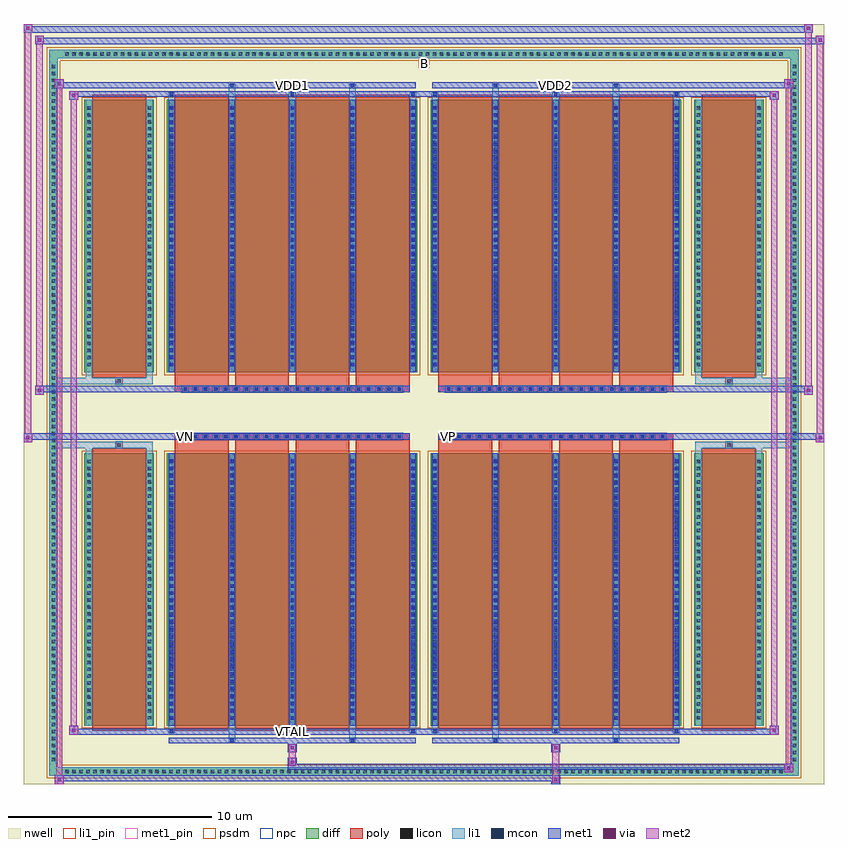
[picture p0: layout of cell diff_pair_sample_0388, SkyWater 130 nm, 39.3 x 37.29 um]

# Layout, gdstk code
import gdstk
lib = gdstk.Library(unit=1e-6, precision=5e-09)
def R(c, l, rs):  # rectangles x0, y0, x1, y1
    for r in rs: c.add(gdstk.rectangle(r[:2], r[2:], *l))
def A(c, l, x, y, w, h, nx, ny, dx, dy):  # array of equal rectangles
    R(c, l, [(x+i*dx, y+j*dy, x+i*dx+w, y+j*dy+h) for i in range(nx) for j in range(ny)])
def P(c, l, *ps):  # polygons
    for p in ps: c.add(gdstk.Polygon(p, *l))
nwell = (64, 20)
diff = (65, 20)
poly = (66, 20)
licon = (66, 44)
li1_pin = (67, 16)
li1 = (67, 20)
mcon = (67, 44)
met1_pin = (68, 16)
met1 = (68, 20)
via = (68, 44)
met2 = (69, 20)
psdm = (94, 20)
npc = (95, 20)

diff_pair_sample_0388 = lib.new_cell('diff_pair_sample_0388')
R(diff_pair_sample_0388, nwell, [(-19.65,-18.21,19.65,19.08), (-16.97,-16.4,-0.01,-0.8), (0.01,-16.4,16.97,-0.8), (-16.97,0.8,-0.01,16.4), (0.01,0.8,16.97,16.4)])
A(diff_pair_sample_0388, diff, -17.715, -17.81, 0.41, 0.41, 104, 2, 0.34, 35.21)
A(diff_pair_sample_0388, diff, -18.38, -17.205, 0.41, 0.41, 1, 101, 0, 0.34)
A(diff_pair_sample_0388, diff, 17.97, -17.205, 0.41, 0.41, 1, 101, 0, 0.34)
R(diff_pair_sample_0388, diff, [(-17.715,-17.81,17.715,-17.4), (-18.38,-17.205,-17.97,17.205), (17.97,-17.205,18.38,17.205), (-16.66,-15.355,-13.25,-1.985), (-12.61,-15.355,-0.32,-1.985), (0.32,-15.355,12.61,-1.985), (13.25,-15.355,16.66,-1.985), (-16.66,1.985,-13.25,15.355), (-12.61,1.985,-0.32,15.355), (0.32,1.985,12.61,15.355), (13.25,1.985,16.66,15.355), (-17.715,17.4,17.715,17.81)])
P(diff_pair_sample_0388, diff, [(18.38,17.81),(-18.38,17.81),(-18.38,-17.4),(-17.97,-17.4),(-17.97,17.4),(17.97,17.4),(17.97,-17.4),(-17.97,-17.4),(-18.38,-17.4),(-18.38,-17.81),(18.38,-17.81)])
A(diff_pair_sample_0388, poly, -12.22, -15.605, 2.63, 13.87, 4, 2, 2.96, 17.34)
A(diff_pair_sample_0388, poly, 0.71, -15.605, 2.63, 13.87, 4, 2, 2.96, 17.34)
A(diff_pair_sample_0388, poly, -12.22, -1.735, 2.63, 0.405, 4, 2, 2.96, 3.065)
A(diff_pair_sample_0388, poly, 0.71, -1.735, 2.63, 0.405, 4, 2, 2.96, 3.065)
A(diff_pair_sample_0388, poly, -11.88, -1.33, 0.33, 0.33, 22, 2, 0.5, 2.33)
A(diff_pair_sample_0388, poly, 1.05, -1.33, 0.33, 0.33, 22, 2, 0.5, 2.33)
R(diff_pair_sample_0388, poly, [(-16.27,-15.605,-13.64,-1.735), (13.64,-15.605,16.27,-1.735), (-15.12,-1.735,-14.79,-1.405), (-15.12,-1.735,-14.79,-1.405), (14.79,-1.735,15.12,-1.405), (14.79,-1.735,15.12,-1.405), (-12.22,-1.33,-0.71,-1), (0.71,-1.33,12.22,-1), (-12.22,1,-0.71,1.33), (0.71,1,12.22,1.33), (-15.12,1.405,-14.79,1.735), (-15.12,1.405,-14.79,1.735), (14.79,1.405,15.12,1.735), (14.79,1.405,15.12,1.735), (-16.27,1.735,-13.64,15.605), (13.64,1.735,16.27,15.605)])
A(diff_pair_sample_0388, licon, -17.595, -17.69, 0.17, 0.17, 104, 2, 0.34, 35.21)
A(diff_pair_sample_0388, licon, -18.26, -17.085, 0.17, 0.17, 1, 101, 0, 0.34)
A(diff_pair_sample_0388, licon, 18.09, -17.085, 0.17, 0.17, 1, 101, 0, 0.34)
A(diff_pair_sample_0388, licon, -16.52, -15.045, 0.17, 0.17, 1, 38, 0, 0.34)
A(diff_pair_sample_0388, licon, -13.56, -15.045, 0.17, 0.17, 1, 38, 0, 0.34)
A(diff_pair_sample_0388, licon, -12.47, -15.045, 0.17, 0.17, 5, 38, 2.96, 0.34)
A(diff_pair_sample_0388, licon, 0.46, -15.045, 0.17, 0.17, 5, 38, 2.96, 0.34)
A(diff_pair_sample_0388, licon, 13.39, -15.045, 0.17, 0.17, 1, 38, 0, 0.34)
A(diff_pair_sample_0388, licon, 16.35, -15.045, 0.17, 0.17, 1, 38, 0, 0.34)
A(diff_pair_sample_0388, licon, -11.8, -1.25, 0.17, 0.17, 22, 2, 0.5, 2.33)
A(diff_pair_sample_0388, licon, 1.13, -1.25, 0.17, 0.17, 22, 2, 0.5, 2.33)
A(diff_pair_sample_0388, licon, -16.52, 2.295, 0.17, 0.17, 1, 38, 0, 0.34)
A(diff_pair_sample_0388, licon, -13.56, 2.295, 0.17, 0.17, 1, 38, 0, 0.34)
A(diff_pair_sample_0388, licon, -12.47, 2.295, 0.17, 0.17, 5, 38, 2.96, 0.34)
A(diff_pair_sample_0388, licon, 0.46, 2.295, 0.17, 0.17, 5, 38, 2.96, 0.34)
A(diff_pair_sample_0388, licon, 13.39, 2.295, 0.17, 0.17, 1, 38, 0, 0.34)
A(diff_pair_sample_0388, licon, 16.35, 2.295, 0.17, 0.17, 1, 38, 0, 0.34)
R(diff_pair_sample_0388, licon, [(-15.04,-1.655,-14.87,-1.485), (14.87,-1.655,15.04,-1.485), (-15.04,1.485,-14.87,1.655), (14.87,1.485,15.04,1.655)])
R(diff_pair_sample_0388, li1_pin, [(-0.25,16.9,0.25,17.4)])
A(diff_pair_sample_0388, li1, -17.675, -17.77, 0.33, 0.33, 104, 2, 0.34, 35.21)
A(diff_pair_sample_0388, li1, -18.34, -17.165, 0.33, 0.33, 1, 101, 0, 0.34)
A(diff_pair_sample_0388, li1, 18.01, -17.165, 0.33, 0.33, 1, 101, 0, 0.34)
A(diff_pair_sample_0388, li1, -12.55, -15.73, 0.33, 0.375, 3, 2, 5.92, 31.085)
A(diff_pair_sample_0388, li1, -12.47, -15.73, 0.17, 0.17, 3, 2, 5.92, 31.29)
A(diff_pair_sample_0388, li1, 0.38, -15.73, 0.33, 0.375, 3, 2, 5.92, 31.085)
A(diff_pair_sample_0388, li1, 0.46, -15.73, 0.17, 0.17, 3, 2, 5.92, 31.29)
A(diff_pair_sample_0388, li1, -12.55, -15.355, 0.33, 13.37, 5, 2, 2.96, 17.34)
A(diff_pair_sample_0388, li1, 0.38, -15.355, 0.33, 13.37, 5, 2, 2.96, 17.34)
A(diff_pair_sample_0388, li1, -16.6, -15.125, 0.33, 0.33, 1, 38, 0, 0.34)
A(diff_pair_sample_0388, li1, -13.64, -15.125, 0.33, 0.33, 1, 38, 0, 0.34)
A(diff_pair_sample_0388, li1, -12.55, -15.125, 0.33, 0.33, 5, 38, 2.96, 0.34)
A(diff_pair_sample_0388, li1, 0.38, -15.125, 0.33, 0.33, 5, 38, 2.96, 0.34)
A(diff_pair_sample_0388, li1, 13.31, -15.125, 0.33, 0.33, 1, 38, 0, 0.34)
A(diff_pair_sample_0388, li1, 16.27, -15.125, 0.33, 0.33, 1, 38, 0, 0.34)
A(diff_pair_sample_0388, li1, -12.47, -15.055, 0.17, 0.17, 5, 36, 2.96, 0.36)
A(diff_pair_sample_0388, li1, -12.47, -15.055, 0.17, 12.77, 5, 2, 2.96, 17.34)
A(diff_pair_sample_0388, li1, 0.46, -15.055, 0.17, 0.17, 5, 36, 2.96, 0.36)
A(diff_pair_sample_0388, li1, 0.46, -15.055, 0.17, 12.77, 5, 2, 2.96, 17.34)
A(diff_pair_sample_0388, li1, -11.88, -1.33, 0.33, 0.33, 22, 2, 0.5, 2.33)
A(diff_pair_sample_0388, li1, 1.05, -1.33, 0.33, 0.33, 22, 2, 0.5, 2.33)
A(diff_pair_sample_0388, li1, -16.6, 2.215, 0.33, 0.33, 1, 38, 0, 0.34)
A(diff_pair_sample_0388, li1, -13.64, 2.215, 0.33, 0.33, 1, 38, 0, 0.34)
A(diff_pair_sample_0388, li1, -12.55, 2.215, 0.33, 0.33, 5, 38, 2.96, 0.34)
A(diff_pair_sample_0388, li1, 0.38, 2.215, 0.33, 0.33, 5, 38, 2.96, 0.34)
A(diff_pair_sample_0388, li1, 13.31, 2.215, 0.33, 0.33, 1, 38, 0, 0.34)
A(diff_pair_sample_0388, li1, 16.27, 2.215, 0.33, 0.33, 1, 38, 0, 0.34)
A(diff_pair_sample_0388, li1, -12.47, 2.285, 0.17, 0.17, 5, 36, 2.96, 0.36)
A(diff_pair_sample_0388, li1, 0.46, 2.285, 0.17, 0.17, 5, 36, 2.96, 0.36)
R(diff_pair_sample_0388, li1, [(-18.38,-17.81,-17.97,-17.4), (-18.38,-17.81,-17.97,-17.4), (-17.97,-17.81,17.97,-17.4), (17.97,-17.81,18.38,-17.4), (17.97,-17.81,18.38,-17.4), (-18.38,-17.4,-17.97,17.4), (17.97,-17.4,18.38,17.4), (-9.59,-16.16,-9.26,-15.355), (-9.51,-16.16,-9.34,-15.99), (-3.67,-16.16,-3.34,-15.355), (-3.59,-16.16,-3.42,-15.99), (3.34,-16.16,3.67,-15.355), (3.42,-16.16,3.59,-15.99), (9.26,-16.16,9.59,-15.355), (9.34,-16.16,9.51,-15.99), (-16.6,-15.355,-16.27,-1.985), (-13.64,-15.355,-13.31,-1.985), (13.31,-15.355,13.64,-1.985), (16.27,-15.355,16.6,-1.985), (-16.6,-1.985,-16.27,-1.405), (-13.64,-1.985,-13.31,-1.405), (13.31,-1.985,13.64,-1.405), (16.27,-1.985,16.6,-1.405), (-18.38,-1.735,-15.12,-1.405), (-16.6,-1.735,-15.12,-1.405), (-15.12,-1.735,-14.79,-1.405), (-14.79,-1.735,-13.31,-1.405), (13.31,-1.735,14.79,-1.405), (14.79,-1.735,15.12,-1.405), (14.79,-1.735,18.38,-1.405), (15.12,-1.735,16.6,-1.405), (-18.38,1.405,-15.12,1.735), (-16.6,1.405,-15.12,1.735), (-16.6,1.405,-16.27,1.985), (-15.12,1.405,-14.79,1.735), (-14.79,1.405,-13.31,1.735), (-13.64,1.405,-13.31,1.985), (13.31,1.405,14.79,1.735), (13.31,1.405,13.64,1.985), (14.79,1.405,15.12,1.735), (14.79,1.405,18.38,1.735), (15.12,1.405,16.6,1.735), (16.27,1.405,16.6,1.985), (-16.6,1.985,-16.27,15.355), (-13.64,1.985,-13.31,15.355), (13.31,1.985,13.64,15.355), (16.27,1.985,16.6,15.355), (-9.59,15.355,-9.26,16.16), (-3.67,15.355,-3.34,16.16), (3.34,15.355,3.67,16.16), (9.26,15.355,9.59,16.16), (-9.51,15.99,-9.34,16.16), (-3.59,15.99,-3.42,16.16), (3.42,15.99,3.59,16.16), (9.34,15.99,9.51,16.16), (-18.38,17.4,-17.97,17.81), (-18.38,17.4,-17.97,17.81), (-17.97,17.4,17.97,17.81), (17.97,17.4,18.38,17.81), (17.97,17.4,18.38,17.81)])
A(diff_pair_sample_0388, mcon, -12.47, -15.73, 0.17, 0.17, 3, 2, 5.92, 31.29)
A(diff_pair_sample_0388, mcon, 0.46, -15.73, 0.17, 0.17, 3, 2, 5.92, 31.29)
A(diff_pair_sample_0388, mcon, -12.47, -15.055, 0.17, 0.17, 5, 36, 2.96, 0.36)
A(diff_pair_sample_0388, mcon, 0.46, -15.055, 0.17, 0.17, 5, 36, 2.96, 0.36)
A(diff_pair_sample_0388, mcon, -11.8, -1.25, 0.17, 0.17, 22, 2, 0.5, 2.33)
A(diff_pair_sample_0388, mcon, 1.13, -1.25, 0.17, 0.17, 22, 2, 0.5, 2.33)
A(diff_pair_sample_0388, mcon, -12.47, 2.285, 0.17, 0.17, 5, 36, 2.96, 0.36)
A(diff_pair_sample_0388, mcon, 0.46, 2.285, 0.17, 0.17, 5, 36, 2.96, 0.36)
R(diff_pair_sample_0388, mcon, [(-9.51,-16.16,-9.34,-15.99), (-3.59,-16.16,-3.42,-15.99), (3.42,-16.16,3.59,-15.99), (9.34,-16.16,9.51,-15.99), (-9.51,15.99,-9.34,16.16), (-3.59,15.99,-3.42,16.16), (3.42,15.99,3.59,16.16), (9.34,15.99,9.51,16.16)])
R(diff_pair_sample_0388, met1_pin, [(-6.6,-15.77,-6.33,-15.5), (-11.85,-1.29,-11.58,-1.02), (1.08,-1.29,1.35,-1.02), (-6.6,15.95,-6.33,16.22), (6.33,15.95,6.6,16.22)])
A(diff_pair_sample_0388, met1, -12.53, -15.79, 0.29, 0.29, 3, 2, 5.92, 31.29)
A(diff_pair_sample_0388, met1, 0.4, -15.79, 0.29, 0.29, 3, 2, 5.92, 31.29)
A(diff_pair_sample_0388, met1, -12.53, -15.355, 0.29, 13.37, 5, 2, 2.96, 17.34)
A(diff_pair_sample_0388, met1, 0.4, -15.355, 0.29, 13.37, 5, 2, 2.96, 17.34)
A(diff_pair_sample_0388, met1, -12.53, -15.115, 0.29, 0.29, 5, 36, 2.96, 0.36)
A(diff_pair_sample_0388, met1, 0.4, -15.115, 0.29, 0.29, 5, 36, 2.96, 0.36)
A(diff_pair_sample_0388, met1, -11.86, -1.31, 0.29, 0.29, 22, 2, 0.5, 2.33)
A(diff_pair_sample_0388, met1, 1.07, -1.31, 0.29, 0.29, 22, 2, 0.5, 2.33)
A(diff_pair_sample_0388, met1, -12.53, 2.225, 0.29, 0.29, 5, 36, 2.96, 0.36)
A(diff_pair_sample_0388, met1, 0.4, 2.225, 0.29, 0.29, 5, 36, 2.96, 0.36)
R(diff_pair_sample_0388, met1, [(-18.11,-18.21,-17.68,-17.78), (6.25,-18.21,6.68,-17.78), (-18.11,-18.07,6.68,-17.78), (17.68,-17.64,18.11,-17.21), (-6.68,-17.5,18.11,-17.21), (-6.68,-17.36,-6.25,-16.93), (-6.68,-16.65,-6.25,-16.22), (6.25,-16.65,6.68,-16.22), (-12.53,-16.22,-0.4,-15.93), (-9.57,-16.22,-9.28,-15.93), (-3.65,-16.22,-3.36,-15.93), (0.4,-16.22,12.53,-15.93), (3.36,-16.22,3.65,-15.93), (9.28,-16.22,9.57,-15.93), (-17.4,-15.79,-16.97,-15.36), (-17.4,-15.79,-12.53,-15.5), (-12.53,-15.79,-0.4,-15.5), (-0.4,-15.79,0.4,-15.5), (0.4,-15.79,12.53,-15.5), (12.53,-15.79,17.4,-15.5), (16.97,-15.79,17.4,-15.36), (-19.65,-1.43,-19.22,-1), (19.22,-1.43,19.65,-1), (-19.65,-1.33,-0.71,-1), (-12.22,-1.33,-0.71,-1), (0.71,-1.33,12.22,-1), (0.71,-1.33,19.65,-1), (-19.08,0.9,-18.65,1.33), (18.65,0.9,19.08,1.33), (-19.08,1,-12.22,1.33), (-12.22,1,-0.71,1.33), (0.71,1,12.22,1.33), (12.22,1,19.08,1.33), (-17.4,15.36,-16.97,15.79), (16.97,15.36,17.4,15.79), (-17.4,15.5,-12.53,15.79), (-12.53,15.5,-0.4,15.79), (-0.4,15.5,0.4,15.79), (0.4,15.5,12.53,15.79), (12.53,15.5,17.4,15.79), (-18.11,15.93,-17.68,16.36), (-18.11,15.93,-12.53,16.22), (-12.53,15.93,-0.4,16.22), (-9.57,15.93,-9.28,16.22), (-3.65,15.93,-3.36,16.22), (0.4,15.93,12.53,16.22), (3.36,15.93,3.65,16.22), (9.28,15.93,9.57,16.22), (12.53,15.93,18.11,16.22), (17.68,15.93,18.11,16.36), (-19.08,18.08,-18.65,18.51), (-19.08,18.08,-16.97,18.41), (-16.97,18.08,16.97,18.41), (16.97,18.08,19.65,18.41), (19.22,18.08,19.65,18.51), (-19.65,18.65,-19.22,19.08), (-19.65,18.65,-16.97,18.98), (-16.97,18.65,16.97,18.98), (16.97,18.65,19.08,18.98), (18.65,18.65,19.08,19.08)])
R(diff_pair_sample_0388, via, [(-17.97,-18.07,-17.82,-17.92), (6.39,-18.07,6.54,-17.92), (17.82,-17.5,17.97,-17.35), (-6.54,-17.22,-6.39,-17.07), (-6.54,-16.51,-6.39,-16.36), (6.39,-16.51,6.54,-16.36), (-17.26,-15.65,-17.11,-15.5), (17.11,-15.65,17.26,-15.5), (-19.51,-1.29,-19.36,-1.14), (19.36,-1.29,19.51,-1.14), (-18.94,1.04,-18.79,1.19), (18.79,1.04,18.94,1.19), (-17.26,15.5,-17.11,15.65), (17.11,15.5,17.26,15.65), (-17.97,16.07,-17.82,16.22), (17.82,16.07,17.97,16.22), (-18.94,18.22,-18.79,18.37), (19.36,18.22,19.51,18.37), (-19.51,18.79,-19.36,18.94), (18.79,18.79,18.94,18.94)])
R(diff_pair_sample_0388, met2, [(-18.11,-18.21,-17.68,-17.78), (-18.04,-18.21,-17.75,16.36), (-17.75,-18.21,-17.68,-17.78), (-18.06,-18.16,-17.73,-17.83), (6.3,-18.16,6.63,-17.83), (6.3,-17.83,6.63,-16.6), (17.68,-17.64,18.11,-17.21), (17.75,-17.64,18.04,16.36), (18.04,-17.64,18.11,-17.21), (17.73,-17.59,18.06,-17.26), (-6.63,-17.31,-6.3,-16.98), (-6.63,-16.98,-6.3,-16.6), (-6.63,-16.6,-6.3,-16.27), (6.3,-16.6,6.63,-16.27), (-17.4,-15.79,-16.97,-15.36), (-17.33,-15.79,-17.04,15.79), (-17.04,-15.79,-16.97,-15.36), (16.97,-15.79,17.4,-15.36), (17.04,-15.79,17.33,15.79), (17.33,-15.79,17.4,-15.36), (-17.35,-15.74,-17.02,-15.41), (17.02,-15.74,17.35,-15.41), (-19.65,-1.43,-19.22,-1), (-19.6,-1.43,-19.27,19.08), (-19.27,-1.43,-19.22,-1), (19.22,-1.43,19.65,-1), (19.27,-1.43,19.6,18.51), (19.6,-1.43,19.65,-1), (-19.6,-1.38,-19.27,-1.05), (19.27,-1.38,19.6,-1.05), (-19.08,0.9,-18.65,1.33), (-19.03,0.9,-18.7,18.51), (-18.7,0.9,-18.65,1.33), (18.65,0.9,19.08,1.33), (18.7,0.9,19.03,19.08), (19.03,0.9,19.08,1.33), (-19.03,0.95,-18.7,1.28), (18.7,0.95,19.03,1.28), (-17.4,15.36,-16.97,15.79), (-17.04,15.36,-16.97,15.79), (16.97,15.36,17.4,15.79), (17.33,15.36,17.4,15.79), (-17.35,15.41,-17.02,15.74), (17.02,15.41,17.35,15.74), (-18.11,15.93,-17.68,16.36), (-17.75,15.93,-17.68,16.36), (17.68,15.93,18.11,16.36), (18.04,15.93,18.11,16.36), (-18.06,15.98,-17.73,16.31), (17.73,15.98,18.06,16.31), (-19.08,18.08,-18.65,18.51), (-18.7,18.08,-18.65,18.51), (19.22,18.08,19.65,18.51), (19.6,18.08,19.65,18.51), (-19.03,18.13,-18.7,18.46), (19.27,18.13,19.6,18.46), (-19.65,18.65,-19.22,19.08), (-19.27,18.65,-19.22,19.08), (18.65,18.65,19.08,19.08), (19.03,18.65,19.08,19.08), (-19.6,18.7,-19.27,19.03), (18.7,18.7,19.03,19.03)])
R(diff_pair_sample_0388, psdm, [(-16.79,-15.485,-13.12,-1.855), (-12.74,-15.485,-0.19,-1.855), (0.19,-15.485,12.74,-1.855), (13.12,-15.485,16.79,-1.855), (-16.79,1.855,-13.12,15.485), (-12.74,1.855,-0.19,15.485), (0.19,1.855,12.74,15.485), (13.12,1.855,16.79,15.485)])
P(diff_pair_sample_0388, psdm, [(18.51,17.94),(-18.51,17.94),(-18.51,-17.27),(-17.84,-17.27),(-17.84,17.27),(17.84,17.27),(17.84,-17.27),(-17.84,-17.27),(-18.51,-17.27),(-18.51,-17.94),(18.51,-17.94)])
A(diff_pair_sample_0388, npc, -11.9, -1.35, 0.37, 0.37, 22, 2, 0.5, 2.33)
A(diff_pair_sample_0388, npc, 1.03, -1.35, 0.37, 0.37, 22, 2, 0.5, 2.33)
R(diff_pair_sample_0388, npc, [(-15.14,-1.755,-14.77,-1.385), (14.77,-1.755,15.14,-1.385), (-11.9,-1.35,-11.03,-0.98), (-11.9,-1.35,-11.03,-0.98), (-11.4,-1.35,-10.53,-0.98), (-11.4,-1.35,-10.53,-0.98), (-10.9,-1.35,-10.03,-0.98), (-10.9,-1.35,-10.03,-0.98), (-10.4,-1.35,-9.53,-0.98), (-10.4,-1.35,-9.53,-0.98), (-9.9,-1.35,-9.03,-0.98), (-9.9,-1.35,-9.03,-0.98), (-9.4,-1.35,-8.53,-0.98), (-9.4,-1.35,-8.53,-0.98), (-8.9,-1.35,-8.03,-0.98), (-8.9,-1.35,-8.03,-0.98), (-8.4,-1.35,-7.53,-0.98), (-8.4,-1.35,-7.53,-0.98), (-7.9,-1.35,-7.03,-0.98), (-7.9,-1.35,-7.03,-0.98), (-7.4,-1.35,-6.53,-0.98), (-7.4,-1.35,-6.53,-0.98), (-6.9,-1.35,-6.03,-0.98), (-6.9,-1.35,-6.03,-0.98), (-6.4,-1.35,-5.53,-0.98), (-6.4,-1.35,-5.53,-0.98), (-5.9,-1.35,-5.03,-0.98), (-5.9,-1.35,-5.03,-0.98), (-5.4,-1.35,-4.53,-0.98), (-5.4,-1.35,-4.53,-0.98), (-4.9,-1.35,-4.03,-0.98), (-4.9,-1.35,-4.03,-0.98), (-4.4,-1.35,-3.53,-0.98), (-4.4,-1.35,-3.53,-0.98), (-3.9,-1.35,-3.03,-0.98), (-3.9,-1.35,-3.03,-0.98), (-3.4,-1.35,-2.53,-0.98), (-3.4,-1.35,-2.53,-0.98), (-2.9,-1.35,-2.03,-0.98), (-2.9,-1.35,-2.03,-0.98), (-2.4,-1.35,-1.53,-0.98), (-2.4,-1.35,-1.53,-0.98), (-1.9,-1.35,-1.03,-0.98), (-1.9,-1.35,-1.03,-0.98), (1.03,-1.35,1.9,-0.98), (1.03,-1.35,1.9,-0.98), (1.53,-1.35,2.4,-0.98), (1.53,-1.35,2.4,-0.98), (2.03,-1.35,2.9,-0.98), (2.03,-1.35,2.9,-0.98), (2.53,-1.35,3.4,-0.98), (2.53,-1.35,3.4,-0.98), (3.03,-1.35,3.9,-0.98), (3.03,-1.35,3.9,-0.98), (3.53,-1.35,4.4,-0.98), (3.53,-1.35,4.4,-0.98), (4.03,-1.35,4.9,-0.98), (4.03,-1.35,4.9,-0.98), (4.53,-1.35,5.4,-0.98), (4.53,-1.35,5.4,-0.98), (5.03,-1.35,5.9,-0.98), (5.03,-1.35,5.9,-0.98), (5.53,-1.35,6.4,-0.98), (5.53,-1.35,6.4,-0.98), (6.03,-1.35,6.9,-0.98), (6.03,-1.35,6.9,-0.98), (6.53,-1.35,7.4,-0.98), (6.53,-1.35,7.4,-0.98), (7.03,-1.35,7.9,-0.98), (7.03,-1.35,7.9,-0.98), (7.53,-1.35,8.4,-0.98), (7.53,-1.35,8.4,-0.98), (8.03,-1.35,8.9,-0.98), (8.03,-1.35,8.9,-0.98), (8.53,-1.35,9.4,-0.98), (8.53,-1.35,9.4,-0.98), (9.03,-1.35,9.9,-0.98), (9.03,-1.35,9.9,-0.98), (9.53,-1.35,10.4,-0.98), (9.53,-1.35,10.4,-0.98), (10.03,-1.35,10.9,-0.98), (10.03,-1.35,10.9,-0.98), (10.53,-1.35,11.4,-0.98), (10.53,-1.35,11.4,-0.98), (11.03,-1.35,11.9,-0.98), (11.03,-1.35,11.9,-0.98), (-11.9,0.98,-11.03,1.35), (-11.9,0.98,-11.03,1.35), (-11.4,0.98,-10.53,1.35), (-11.4,0.98,-10.53,1.35), (-10.9,0.98,-10.03,1.35), (-10.9,0.98,-10.03,1.35), (-10.4,0.98,-9.53,1.35), (-10.4,0.98,-9.53,1.35), (-9.9,0.98,-9.03,1.35), (-9.9,0.98,-9.03,1.35), (-9.4,0.98,-8.53,1.35), (-9.4,0.98,-8.53,1.35), (-8.9,0.98,-8.03,1.35), (-8.9,0.98,-8.03,1.35), (-8.4,0.98,-7.53,1.35), (-8.4,0.98,-7.53,1.35), (-7.9,0.98,-7.03,1.35), (-7.9,0.98,-7.03,1.35), (-7.4,0.98,-6.53,1.35), (-7.4,0.98,-6.53,1.35), (-6.9,0.98,-6.03,1.35), (-6.9,0.98,-6.03,1.35), (-6.4,0.98,-5.53,1.35), (-6.4,0.98,-5.53,1.35), (-5.9,0.98,-5.03,1.35), (-5.9,0.98,-5.03,1.35), (-5.4,0.98,-4.53,1.35), (-5.4,0.98,-4.53,1.35), (-4.9,0.98,-4.03,1.35), (-4.9,0.98,-4.03,1.35), (-4.4,0.98,-3.53,1.35), (-4.4,0.98,-3.53,1.35), (-3.9,0.98,-3.03,1.35), (-3.9,0.98,-3.03,1.35), (-3.4,0.98,-2.53,1.35), (-3.4,0.98,-2.53,1.35), (-2.9,0.98,-2.03,1.35), (-2.9,0.98,-2.03,1.35), (-2.4,0.98,-1.53,1.35), (-2.4,0.98,-1.53,1.35), (-1.9,0.98,-1.03,1.35), (-1.9,0.98,-1.03,1.35), (1.03,0.98,1.9,1.35), (1.03,0.98,1.9,1.35), (1.53,0.98,2.4,1.35), (1.53,0.98,2.4,1.35), (2.03,0.98,2.9,1.35), (2.03,0.98,2.9,1.35), (2.53,0.98,3.4,1.35), (2.53,0.98,3.4,1.35), (3.03,0.98,3.9,1.35), (3.03,0.98,3.9,1.35), (3.53,0.98,4.4,1.35), (3.53,0.98,4.4,1.35), (4.03,0.98,4.9,1.35), (4.03,0.98,4.9,1.35), (4.53,0.98,5.4,1.35), (4.53,0.98,5.4,1.35), (5.03,0.98,5.9,1.35), (5.03,0.98,5.9,1.35), (5.53,0.98,6.4,1.35), (5.53,0.98,6.4,1.35), (6.03,0.98,6.9,1.35), (6.03,0.98,6.9,1.35), (6.53,0.98,7.4,1.35), (6.53,0.98,7.4,1.35), (7.03,0.98,7.9,1.35), (7.03,0.98,7.9,1.35), (7.53,0.98,8.4,1.35), (7.53,0.98,8.4,1.35), (8.03,0.98,8.9,1.35), (8.03,0.98,8.9,1.35), (8.53,0.98,9.4,1.35), (8.53,0.98,9.4,1.35), (9.03,0.98,9.9,1.35), (9.03,0.98,9.9,1.35), (9.53,0.98,10.4,1.35), (9.53,0.98,10.4,1.35), (10.03,0.98,10.9,1.35), (10.03,0.98,10.9,1.35), (10.53,0.98,11.4,1.35), (10.53,0.98,11.4,1.35), (11.03,0.98,11.9,1.35), (11.03,0.98,11.9,1.35), (-15.14,1.385,-14.77,1.755), (14.77,1.385,15.14,1.755)])
diff_pair_sample_0388.add(gdstk.Label('VTAIL', (-6.465,-15.635), layer=68, texttype=5))
diff_pair_sample_0388.add(gdstk.Label('VN', (-11.715,-1.155), layer=68, texttype=5))
diff_pair_sample_0388.add(gdstk.Label('VP', (1.215,-1.155), layer=68, texttype=5))
diff_pair_sample_0388.add(gdstk.Label('B', (0,17.15), layer=67, texttype=5))
diff_pair_sample_0388.add(gdstk.Label('VDD2', (6.465,16.085), layer=68, texttype=5))
diff_pair_sample_0388.add(gdstk.Label('VDD1', (-6.465,16.085), layer=68, texttype=5))

lib.write_gds('diff_pair_sample_0388.gds')
